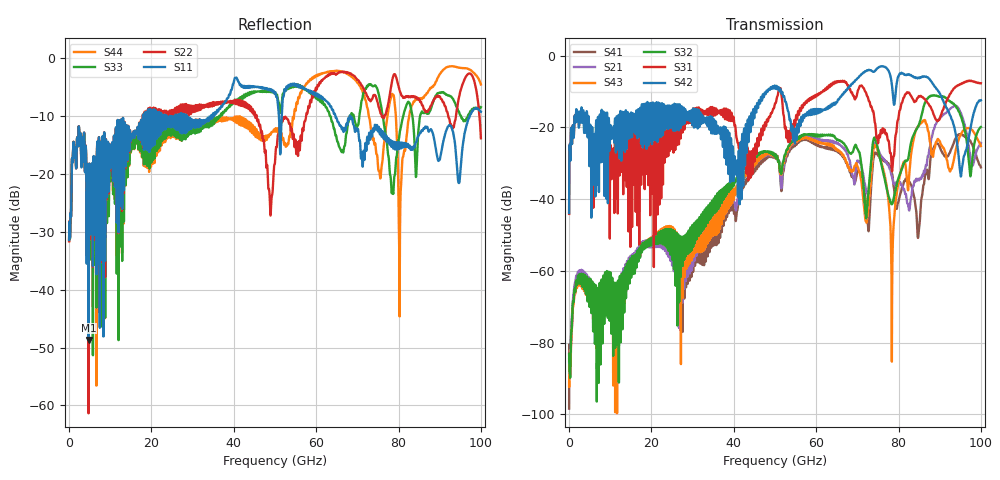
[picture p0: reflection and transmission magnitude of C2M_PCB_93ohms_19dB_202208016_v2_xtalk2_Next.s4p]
! Info: Touchstone file created by Circ.  Input file=Intel_C2M_200G_6p5in_202208016_staggered.circ
# Hz S RI R 50
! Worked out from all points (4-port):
!   10000 points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, 10 MHz to 100 GHz, reference 50 ohm
!   strongest paths, dB at 10 MHz, 25.01 GHz, 50.01 GHz, 75.01 GHz, 100 GHz:
!     S42: -43.8, -16.6, -8.5, -3.4, -12.4
!     S31: -44.1, -20.5, -13.3, -24.4, -7.7
!     S32: -83.2, -56.1, -27.5, -26.1, -19.9
!     S43: -90.9, -51.8, -27.7, -26.8, -25.2
!     S21: -84.6, -58.4, -27.7, -26.1, -24.4
!     S41: -98.4, -53.4, -28.0, -27.9, -31.1
!   lowest |S11| = -48.7 dB at 4.74 GHz (marker M1), VSWR 1.01, Z = 49.6 - j0.0826 ohm
!   |S11| at or under -10 dB: start of sweep to 17.94 GHz; 28.54 GHz to 34.52 GHz (5.986 GHz wide, 19 % of centre); 68.3 GHz to 97.3 GHz (29 GHz wide, 35 % of centre)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
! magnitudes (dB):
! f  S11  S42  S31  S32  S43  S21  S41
! 10 MHz  -31.4  -43.8  -44.1  -83.2  -90.9  -84.6  -98.4
! 4.74 GHz  -48.7  -17.0  -18.3  -62.1  -64.8  -61.7  -63.9
! 56.38 GHz  -5.1  -17.1  -14.8  -22.3  -22.8  -22.3  -23.1
! 74.56 GHz  -12.3  -3.9  -22.0  -23.9  -25.5  -24.8  -27.2
! 78.43 GHz  -14.6  -8.5  -32.3  -41.4  -67.0  -33.7  -32.9
! 85.07 GHz  -13.1  -6.3  -11.3  -18.8  -19.2  -34.7  -47.1
! 100 GHz  -9.3  -12.4  -7.7  -19.9  -25.2  -24.4  -31.1
